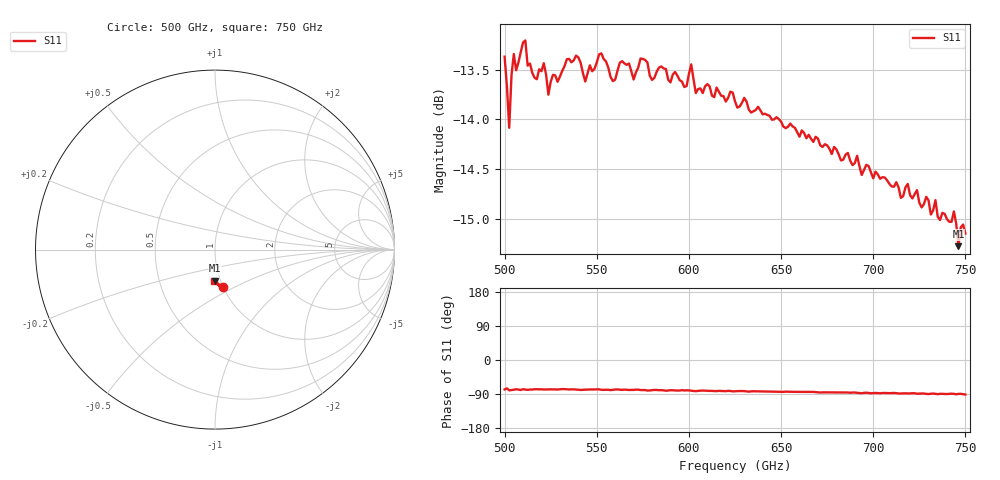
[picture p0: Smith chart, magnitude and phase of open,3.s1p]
!Created with mwavepy.
# GHz S RI R 50.0
!freq	ReS11	ImS11
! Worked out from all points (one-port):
!   201 points, 500 GHz to 750 GHz, reference 50 ohm
!   lowest |S11| = -15.3 dB at 746.2 GHz (marker M1), VSWR 1.42, Z = 47.3 - j16.8 ohm
!   |S11| at or under -10 dB: start of sweep to end of sweep
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500  0.0455 -0.2096
! Port Impedance 50.00000000000000 0.00000000000000
501.25  0.0539 -0.2002
502.5  0.034 -0.1946
505  0.0431 -0.2108
506.25  0.0471 -0.2058
510  0.0491 -0.2125
516.25  0.0465 -0.2041
521.25  0.0448 -0.2081
523.75  0.0455 -0.2002
531.25  0.0485 -0.2054
538.75  0.0453 -0.2099
543.75  0.0423 -0.2041
552.5  0.0429 -0.211
558.75  0.0412 -0.2044
562.5  0.0434 -0.2085
593.75  0.0341 -0.2071
598.75  0.0361 -0.2042
601.25  0.0334 -0.21
603.75  0.0279 -0.2038
625  0.0261 -0.202
656.25  0.0209 -0.1968
687.5  0.0119 -0.1898
715  0.00489 -0.1821
718.75  0.00485 -0.1851
736.25  0.00244 -0.1776
743.75  0.00202 -0.1794
746.25  0.00163 -0.1723
750  -0.00355 -0.1748
